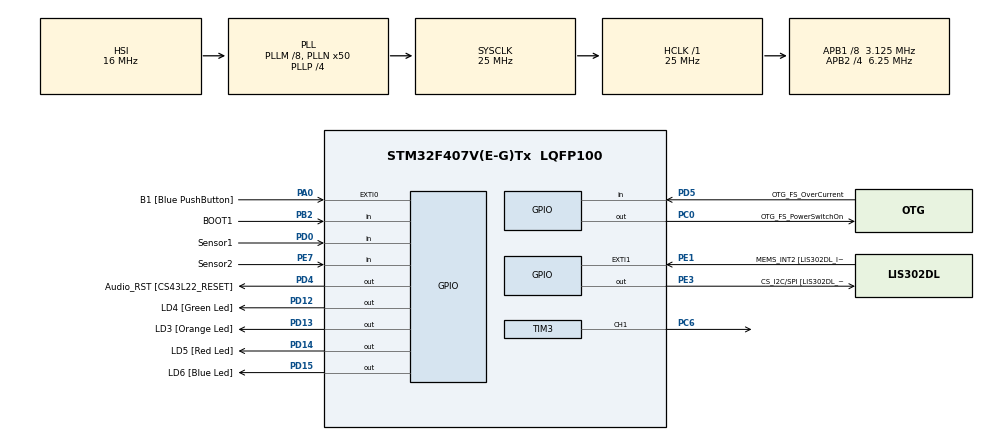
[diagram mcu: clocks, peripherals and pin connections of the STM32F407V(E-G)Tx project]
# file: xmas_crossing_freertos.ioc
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Mcu.Family=STM32F4
Mcu.Name=STM32F407V(E-G)Tx
Mcu.Package=LQFP100
NVIC.PriorityGroup=NVIC_PRIORITYGROUP_4
NVIC.TIM5_IRQn=true\:0\:0\:false\:false\:true\:false\:true
NVIC.TimeBase=TIM5_IRQn
NVIC.TimeBaseIP=TIM5
PA0-WKUP.GPIO_Label=B1 [Blue PushButton]
PA0-WKUP.GPIO_ModeDefaultEXTI=GPIO_MODE_EVT_RISING
PA0-WKUP.GPIO_PuPd=GPIO_NOPULL
PA0-WKUP.Signal=GPXTI0
PA10.GPIO_Label=OTG_FS_ID
PA10.GPIO_Mode=GPIO_MODE_AF_PP
PA10.GPIO_PuPd=GPIO_NOPULL
PA10.GPIO_Speed=GPIO_SPEED_FREQ_LOW
PA10.Signal=USB_OTG_FS_ID
PA11.GPIO_Label=OTG_FS_DM
PA11.GPIO_Mode=GPIO_MODE_AF_PP
PA11.GPIO_PuPd=GPIO_NOPULL
PA11.GPIO_Speed=GPIO_SPEED_FREQ_LOW
PA11.Signal=USB_OTG_FS_DM
PA12.GPIO_Label=OTG_FS_DP
PA12.GPIO_Mode=GPIO_MODE_AF_PP
PA12.GPIO_PuPd=GPIO_NOPULL
PA12.GPIO_Speed=GPIO_SPEED_FREQ_LOW
PA12.Signal=USB_OTG_FS_DP
PA13.GPIO_Label=SWDIO
PA13.Signal=SYS_JTMS-SWDIO
PA14.GPIO_Label=SWCLK
PA14.Signal=SYS_JTCK-SWCLK
PA4.GPIO_Label=I2S3_WS [CS43L22_LRCK]
PA4.GPIO_Mode=GPIO_MODE_AF_PP
PA4.GPIO_PuPd=GPIO_NOPULL
PA4.GPIO_Speed=GPIO_SPEED_FREQ_LOW
PA4.Signal=I2S3_WS
PA5.GPIO_Label=SPI1_SCK [LIS302DL_SCL/SPC]
PA5.GPIO_Mode=GPIO_MODE_AF_PP
PA5.GPIO_PuPd=GPIO_NOPULL
PA5.GPIO_Speed=GPIO_SPEED_FREQ_LOW
PA5.Signal=SPI1_SCK
PA6.GPIO_Label=SPI1_MISO [LIS302DL_SDO]
PA6.GPIO_Mode=GPIO_MODE_AF_PP
PA6.GPIO_PuPd=GPIO_NOPULL
PA6.GPIO_Speed=GPIO_SPEED_FREQ_LOW
PA6.Signal=SPI1_MISO
PA7.GPIO_Label=SPI1_MOSI [LIS302DL_SDA/SDI/SDO]
PA7.GPIO_Mode=GPIO_MODE_AF_PP
PA7.GPIO_PuPd=GPIO_NOPULL
PA7.GPIO_Speed=GPIO_SPEED_FREQ_LOW
PA7.Signal=SPI1_MOSI
PB10.GPIO_Label=CLK_IN [MP45DT02_CLK]
PB10.GPIO_Mode=GPIO_MODE_AF_PP
PB10.GPIO_PuPd=GPIO_NOPULL
PB10.GPIO_Speed=GPIO_SPEED_FREQ_LOW
PB10.Signal=I2S2_CK
PB2.GPIO_Label=BOOT1
PB2.GPIO_Mode=GPIO_MODE_INPUT
PB2.GPIO_PuPd=GPIO_NOPULL
PB2.Signal=GPIO_Input
PB3.GPIO_Label=SWO
PB3.Signal=SYS_JTDO-SWO
PB6.GPIO_Label=Audio_SCL [CS43L22_SCL]
PB6.GPIO_Mode=GPIO_MODE_AF_OD
PB6.GPIO_PuPd=GPIO_NOPULL
PB6.GPIO_Speed=GPIO_SPEED_FREQ_LOW
PB6.Signal=I2C1_SCL
PB9.GPIO_Label=Audio_SDA [CS43L22_SDA]
PB9.GPIO_Mode=GPIO_MODE_AF_OD
PB9.GPIO_PuPd=GPIO_NOPULL
PB9.GPIO_Speed=GPIO_SPEED_FREQ_LOW
PB9.Signal=I2C1_SDA
PC0.GPIO_Label=OTG_FS_PowerSwitchOn
PC0.GPIO_PuPd=GPIO_NOPULL
PC0.GPIO_Speed=GPIO_SPEED_FREQ_LOW
PC0.PinState=GPIO_PIN_SET
PC0.Signal=GPIO_Output
PC10.GPIO_Label=I2S3_SCK [CS43L22_SCLK]
PC10.GPIO_Mode=GPIO_MODE_AF_PP
PC10.GPIO_PuPd=GPIO_NOPULL
PC10.GPIO_Speed=GPIO_SPEED_FREQ_LOW
PC10.Signal=I2S3_CK
PC12.GPIO_Label=I2S3_SD [CS43L22_SDIN]
PC12.GPIO_Mode=GPIO_MODE_AF_PP
PC12.GPIO_PuPd=GPIO_NOPULL
PC12.GPIO_Speed=GPIO_SPEED_FREQ_LOW
PC12.Signal=I2S3_SD
PC14-OSC32_IN.GPIO_Label=PC14-OSC32_IN
PC14-OSC32_IN.Signal=RCC_OSC32_IN
PC15-OSC32_OUT.GPIO_Label=PC15-OSC32_OUT
PC15-OSC32_OUT.Signal=RCC_OSC32_OUT
PC3.GPIO_Label=PDM_OUT [MP45DT02_DOUT]
PC3.GPIO_Mode=GPIO_MODE_AF_PP
PC3.GPIO_PuPd=GPIO_NOPULL
PC3.GPIO_Speed=GPIO_SPEED_FREQ_LOW
PC3.Signal=I2S2_SD
PC6.Signal=S_TIM3_CH1
PC7.GPIO_Label=I2S3_MCK [CS43L22_MCLK]
PC7.GPIO_Mode=GPIO_MODE_AF_PP
PC7.GPIO_PuPd=GPIO_NOPULL
PC7.GPIO_Speed=GPIO_SPEED_FREQ_LOW
PC7.Signal=I2S3_MCK
PD0.GPIO_Label=Sensor1
PD0.GPIO_PuPd=GPIO_PULLUP
PD0.Signal=GPIO_Input
PD12.GPIO_Label=LD4 [Green Led]
PD12.GPIO_PuPd=GPIO_NOPULL
PD12.GPIO_Speed=GPIO_SPEED_FREQ_LOW
PD12.Signal=GPIO_Output
PD13.GPIO_Label=LD3 [Orange Led]
PD13.GPIO_PuPd=GPIO_NOPULL
PD13.GPIO_Speed=GPIO_SPEED_FREQ_LOW
PD13.Signal=GPIO_Output
PD14.GPIO_Label=LD5 [Red Led]
PD14.GPIO_PuPd=GPIO_NOPULL
PD14.GPIO_Speed=GPIO_SPEED_FREQ_LOW
PD14.Signal=GPIO_Output
PD15.GPIO_Label=LD6 [Blue Led]
PD15.GPIO_PuPd=GPIO_NOPULL
PD15.GPIO_Speed=GPIO_SPEED_FREQ_LOW
PD15.Signal=GPIO_Output
PD4.GPIO_Label=Audio_RST [CS43L22_RESET]
PD4.GPIO_PuPd=GPIO_NOPULL
PD4.GPIO_Speed=GPIO_SPEED_FREQ_LOW
PD4.Signal=GPIO_Output
PD5.GPIO_Label=OTG_FS_OverCurrent
PD5.GPIO_Mode=GPIO_MODE_INPUT
PD5.GPIO_PuPd=GPIO_NOPULL
PD5.Signal=GPIO_Input
PE1.GPIO_Label=MEMS_INT2 [LIS302DL_INT2]
PE1.GPIO_ModeDefaultEXTI=GPIO_MODE_EVT_RISING
PE1.GPIO_PuPd=GPIO_NOPULL
PE1.Signal=GPXTI1
PE3.GPIO_Label=CS_I2C/SPI [LIS302DL_CS_I2C/SPI]
PE3.GPIO_PuPd=GPIO_NOPULL
PE3.GPIO_Speed=GPIO_SPEED_FREQ_LOW
PE3.Signal=GPIO_Output
PE7.GPIO_Label=Sensor2
PE7.GPIO_PuPd=GPIO_PULLUP
PE7.Signal=GPIO_Input
PH0-OSC_IN.GPIO_Label=PH0-OSC_IN
PH0-OSC_IN.Signal=RCC_OSC_IN
PH1-OSC_OUT.GPIO_Label=PH1-OSC_OUT
PH1-OSC_OUT.Signal=RCC_OSC_OUT
ProjectManager.HeapSize=0x200
ProjectManager.StackSize=0x400
ProjectManager.TargetToolchain=STM32CubeIDE
RCC.48MHZClocksFreq_Value=14285714.285714285
RCC.AHBFreq_Value=25000000
RCC.APB1CLKDivider=RCC_HCLK_DIV8
RCC.APB1Freq_Value=3125000
RCC.APB1TimFreq_Value=6250000
RCC.APB2CLKDivider=RCC_HCLK_DIV4
RCC.APB2Freq_Value=6250000
RCC.APB2TimFreq_Value=12500000
RCC.CortexFreq_Value=25000000
RCC.HCLKFreq_Value=25000000
RCC.HSE_VALUE=8000000
RCC.HSI_VALUE=16000000
RCC.LSE_VALUE=32768
RCC.PLLM=8
RCC.PLLN=50
RCC.PLLP=RCC_PLLP_DIV4
RCC.PLLQ=7
RCC.SYSCLKFreq_VALUE=25000000
RCC.SYSCLKSource=RCC_SYSCLKSOURCE_PLLCLK
RCC.VCOOutputFreq_Value=100000000
SH.S_TIM3_CH1.0=TIM3_CH1,PWM Generation1 CH1
TIM1.Period=50-1
TIM1.Prescaler=62500-1
TIM3.AutoReloadPreload=TIM_AUTORELOAD_PRELOAD_ENABLE
TIM3.Channel-PWM\ Generation1\ CH1=TIM_CHANNEL_1
TIM3.Period=20000-1
TIM3.Prescaler=6.250-1
TIM3.Pulse-PWM\ Generation1\ CH1=1300
VP_SYS_VS_tim5.Mode=TIM5
VP_TIM1_VS_ClockSourceINT.Mode=Internal
VP_TIM3_VS_ClockSourceINT.Mode=Internal
board=STM32F4DISCOVERY

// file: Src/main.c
/* USER CODE BEGIN Header */
/**
  ******************************************************************************
  * @file           : main.c
  * @brief          : Main program body
  ******************************************************************************
  * @attention
  *
  * <h2><center>&copy; Copyright (c) 2021 STMicroelectronics.
  * All rights reserved.</center></h2>
  *
  * This software component is licensed by ST under BSD 3-Clause license,
  * the "License"; You may not use this file except in compliance with the
  * License. You may obtain a copy of the License at:
  *                        opensource.org/licenses/BSD-3-Clause
  *
  ******************************************************************************
  */
/* USER CODE END Header */

#include "main.h"

/* USER CODE BEGIN Includes */
#include "FreeRTOS.h"
#include "task.h"
#include <stdio.h>
#include "intersection_ctrl.h"
#include "sensor_read.h"
#include "state_machine.h"
#include "gate_ctrl.h"
/* USER CODE END Includes */

TIM_HandleTypeDef htim1;
TIM_HandleTypeDef htim3;

/* USER CODE BEGIN PV */
#define DWT_CTRL	(*(volatile uint32_t*)0xE0001000)
/* USER CODE END PV */

void SystemClock_Config(void);
static void MX_GPIO_Init(void);
static void MX_TIM1_Init(void);
static void MX_TIM3_Init(void);

int main(void)
{
  /* USER CODE BEGIN 1 */
	BaseType_t status;
  /* USER CODE END 1 */

  /* MCU Configuration--------------------------------------------------------*/

  /* Reset of all peripherals, Initializes the Flash interface and the Systick. */
  HAL_Init();

  /* USER CODE BEGIN Init */

  // Enable the cycle counter
  DWT_CTRL |= (1<<0);
  // start segger sys view
  SEGGER_SYSVIEW_Conf();
  SEGGER_SYSVIEW_Start();

  /* USER CODE END Init */

  /* Configure the system clock */
  SystemClock_Config();

  /* Initialize all configured peripherals */
  MX_GPIO_Init();
  MX_TIM1_Init();
  MX_TIM3_Init();
  /* USER CODE BEGIN 2 */

  // start servo - default gate is fully raised
  htim3.Instance->CCR1 = GATE_CTRL_GATE_FULLY_RAISED_SERVO_VAL;
  HAL_TIM_PWM_Start(&htim3, TIM_CHANNEL_1);

  /* Create tasks - dynamically allocate memory to heap */
  status = xTaskCreate(vTask_IntersectionCtrl,"Task_IntersectionCtrl",200,NULL,2,NULL);
  configASSERT(status == pdPASS);
  status = xTaskCreate(vTask_GateCtrl,"Task_GateCtrl",200,NULL,2,NULL);
  configASSERT(status == pdPASS);
  status = xTaskCreate(vTask_SensorRead,"Task_SensorRead",200,NULL,2,NULL);
  configASSERT(status == pdPASS);
  status = xTaskCreate(vTask_StateMachine,"Task_StateMachine",200,NULL,2,NULL);
  configASSERT(status == pdPASS);

  vTaskStartScheduler();
  /* USER CODE END 2 */

  /* Infinite loop */
  while (1)
  {

  }
}

void SystemClock_Config(void)
{
  RCC_OscInitTypeDef RCC_OscInitStruct = {0};
  RCC_ClkInitTypeDef RCC_ClkInitStruct = {0};

  /** Configure the main internal regulator output voltage
  */
  __HAL_RCC_PWR_CLK_ENABLE();
  __HAL_PWR_VOLTAGESCALING_CONFIG(PWR_REGULATOR_VOLTAGE_SCALE1);
  /** Initializes the CPU, AHB and APB busses clocks
  */
  RCC_OscInitStruct.OscillatorType = RCC_OSCILLATORTYPE_HSI;
  RCC_OscInitStruct.HSIState = RCC_HSI_ON;
  RCC_OscInitStruct.HSICalibrationValue = RCC_HSICALIBRATION_DEFAULT;
  RCC_OscInitStruct.PLL.PLLState = RCC_PLL_ON;
  RCC_OscInitStruct.PLL.PLLSource = RCC_PLLSOURCE_HSI;
  RCC_OscInitStruct.PLL.PLLM = 8;
  RCC_OscInitStruct.PLL.PLLN = 50;
  RCC_OscInitStruct.PLL.PLLP = RCC_PLLP_DIV4;
  RCC_OscInitStruct.PLL.PLLQ = 7;
  if (HAL_RCC_OscConfig(&RCC_OscInitStruct) != HAL_OK)
  {
    Error_Handler();
  }
  /** Initializes the CPU, AHB and APB busses clocks
  */
  RCC_ClkInitStruct.ClockType = RCC_CLOCKTYPE_HCLK|RCC_CLOCKTYPE_SYSCLK
                              |RCC_CLOCKTYPE_PCLK1|RCC_CLOCKTYPE_PCLK2;
  RCC_ClkInitStruct.SYSCLKSource = RCC_SYSCLKSOURCE_PLLCLK;
  RCC_ClkInitStruct.AHBCLKDivider = RCC_SYSCLK_DIV1;
  RCC_ClkInitStruct.APB1CLKDivider = RCC_HCLK_DIV8;
  RCC_ClkInitStruct.APB2CLKDivider = RCC_HCLK_DIV4;

  if (HAL_RCC_ClockConfig(&RCC_ClkInitStruct, FLASH_LATENCY_0) != HAL_OK)
  {
    Error_Handler();
  }
}

static void MX_TIM1_Init(void)
{

  TIM_ClockConfigTypeDef sClockSourceConfig = {0};
  TIM_MasterConfigTypeDef sMasterConfig = {0};

  htim1.Instance = TIM1;
  htim1.Init.Prescaler = 62500-1;
  htim1.Init.CounterMode = TIM_COUNTERMODE_UP;
  htim1.Init.Period = 50-1;
  htim1.Init.ClockDivision = TIM_CLOCKDIVISION_DIV1;
  htim1.Init.RepetitionCounter = 0;
  htim1.Init.AutoReloadPreload = TIM_AUTORELOAD_PRELOAD_DISABLE;
  if (HAL_TIM_Base_Init(&htim1) != HAL_OK)
  {
    Error_Handler();
  }
  sClockSourceConfig.ClockSource = TIM_CLOCKSOURCE_INTERNAL;
  if (HAL_TIM_ConfigClockSource(&htim1, &sClockSourceConfig) != HAL_OK)
  {
    Error_Handler();
  }
  sMasterConfig.MasterOutputTrigger = TIM_TRGO_RESET;
  sMasterConfig.MasterSlaveMode = TIM_MASTERSLAVEMODE_DISABLE;
  if (HAL_TIMEx_MasterConfigSynchronization(&htim1, &sMasterConfig) != HAL_OK)
  {
    Error_Handler();
  }

}

static void MX_TIM3_Init(void)
{

  TIM_ClockConfigTypeDef sClockSourceConfig = {0};
  TIM_MasterConfigTypeDef sMasterConfig = {0};
  TIM_OC_InitTypeDef sConfigOC = {0};

  htim3.Instance = TIM3;
  htim3.Init.Prescaler = 6.250-1;
  htim3.Init.CounterMode = TIM_COUNTERMODE_UP;
  htim3.Init.Period = 20000-1;
  htim3.Init.ClockDivision = TIM_CLOCKDIVISION_DIV1;
  htim3.Init.AutoReloadPreload = TIM_AUTORELOAD_PRELOAD_ENABLE;
  if (HAL_TIM_Base_Init(&htim3) != HAL_OK)
  {
    Error_Handler();
  }
  sClockSourceConfig.ClockSource = TIM_CLOCKSOURCE_INTERNAL;
  if (HAL_TIM_ConfigClockSource(&htim3, &sClockSourceConfig) != HAL_OK)
  {
    Error_Handler();
  }
  if (HAL_TIM_PWM_Init(&htim3) != HAL_OK)
  {
    Error_Handler();
  }
  sMasterConfig.MasterOutputTrigger = TIM_TRGO_RESET;
  sMasterConfig.MasterSlaveMode = TIM_MASTERSLAVEMODE_DISABLE;
  if (HAL_TIMEx_MasterConfigSynchronization(&htim3, &sMasterConfig) != HAL_OK)
  {
    Error_Handler();
  }
  sConfigOC.OCMode = TIM_OCMODE_PWM1;
  sConfigOC.Pulse = 1300;
  sConfigOC.OCPolarity = TIM_OCPOLARITY_HIGH;
  sConfigOC.OCFastMode = TIM_OCFAST_DISABLE;
  if (HAL_TIM_PWM_ConfigChannel(&htim3, &sConfigOC, TIM_CHANNEL_1) != HAL_OK)
  {
    Error_Handler();
  }
  HAL_TIM_MspPostInit(&htim3);

}

static void MX_GPIO_Init(void)
{
  GPIO_InitTypeDef GPIO_InitStruct = {0};

  /* GPIO Ports Clock Enable */
  __HAL_RCC_GPIOE_CLK_ENABLE();
  __HAL_RCC_GPIOC_CLK_ENABLE();
  __HAL_RCC_GPIOH_CLK_ENABLE();
  __HAL_RCC_GPIOA_CLK_ENABLE();
  __HAL_RCC_GPIOB_CLK_ENABLE();
  __HAL_RCC_GPIOD_CLK_ENABLE();

  /*Configure GPIO pin Output Level */
  HAL_GPIO_WritePin(CS_I2C_SPI_GPIO_Port, CS_I2C_SPI_Pin, GPIO_PIN_RESET);

  /*Configure GPIO pin Output Level */
  HAL_GPIO_WritePin(OTG_FS_PowerSwitchOn_GPIO_Port, OTG_FS_PowerSwitchOn_Pin, GPIO_PIN_SET);

  /*Configure GPIO pin Output Level */
  HAL_GPIO_WritePin(GPIOD, LD4_Pin|LD3_Pin|LD5_Pin|LD6_Pin
                          |Audio_RST_Pin, GPIO_PIN_RESET);

  /*Configure GPIO pin : CS_I2C_SPI_Pin */
  GPIO_InitStruct.Pin = CS_I2C_SPI_Pin;
  GPIO_InitStruct.Mode = GPIO_MODE_OUTPUT_PP;
  GPIO_InitStruct.Pull = GPIO_NOPULL;
  GPIO_InitStruct.Speed = GPIO_SPEED_FREQ_LOW;
  HAL_GPIO_Init(CS_I2C_SPI_GPIO_Port, &GPIO_InitStruct);

  /*Configure GPIO pin : OTG_FS_PowerSwitchOn_Pin */
  GPIO_InitStruct.Pin = OTG_FS_PowerSwitchOn_Pin;
  GPIO_InitStruct.Mode = GPIO_MODE_OUTPUT_PP;
  GPIO_InitStruct.Pull = GPIO_NOPULL;
  GPIO_InitStruct.Speed = GPIO_SPEED_FREQ_LOW;
  HAL_GPIO_Init(OTG_FS_PowerSwitchOn_GPIO_Port, &GPIO_InitStruct);

  /*Configure GPIO pin : PDM_OUT_Pin */
  GPIO_InitStruct.Pin = PDM_OUT_Pin;
  GPIO_InitStruct.Mode = GPIO_MODE_AF_PP;
  GPIO_InitStruct.Pull = GPIO_NOPULL;
  GPIO_InitStruct.Speed = GPIO_SPEED_FREQ_LOW;
  GPIO_InitStruct.Alternate = GPIO_AF5_SPI2;
  HAL_GPIO_Init(PDM_OUT_GPIO_Port, &GPIO_InitStruct);

  /*Configure GPIO pin : B1_Pin */
  GPIO_InitStruct.Pin = B1_Pin;
  GPIO_InitStruct.Mode = GPIO_MODE_EVT_RISING;
  GPIO_InitStruct.Pull = GPIO_NOPULL;
  HAL_GPIO_Init(B1_GPIO_Port, &GPIO_InitStruct);

  /*Configure GPIO pin : I2S3_WS_Pin */
  GPIO_InitStruct.Pin = I2S3_WS_Pin;
  GPIO_InitStruct.Mode = GPIO_MODE_AF_PP;
  GPIO_InitStruct.Pull = GPIO_NOPULL;
  GPIO_InitStruct.Speed = GPIO_SPEED_FREQ_LOW;
  GPIO_InitStruct.Alternate = GPIO_AF6_SPI3;
  HAL_GPIO_Init(I2S3_WS_GPIO_Port, &GPIO_InitStruct);

  /*Configure GPIO pins : SPI1_SCK_Pin SPI1_MISO_Pin SPI1_MOSI_Pin */
  GPIO_InitStruct.Pin = SPI1_SCK_Pin|SPI1_MISO_Pin|SPI1_MOSI_Pin;
  GPIO_InitStruct.Mode = GPIO_MODE_AF_PP;
  GPIO_InitStruct.Pull = GPIO_NOPULL;
  GPIO_InitStruct.Speed = GPIO_SPEED_FREQ_LOW;
  GPIO_InitStruct.Alternate = GPIO_AF5_SPI1;
  HAL_GPIO_Init(GPIOA, &GPIO_InitStruct);

  /*Configure GPIO pin : BOOT1_Pin */
  GPIO_InitStruct.Pin = BOOT1_Pin;
  GPIO_InitStruct.Mode = GPIO_MODE_INPUT;
  GPIO_InitStruct.Pull = GPIO_NOPULL;
  HAL_GPIO_Init(BOOT1_GPIO_Port, &GPIO_InitStruct);

  /*Configure GPIO pin : Sensor2_Pin */
  GPIO_InitStruct.Pin = Sensor2_Pin;
  GPIO_InitStruct.Mode = GPIO_MODE_INPUT;
  GPIO_InitStruct.Pull = GPIO_PULLUP;
  HAL_GPIO_Init(Sensor2_GPIO_Port, &GPIO_InitStruct);

  /*Configure GPIO pin : CLK_IN_Pin */
  GPIO_InitStruct.Pin = CLK_IN_Pin;
  GPIO_InitStruct.Mode = GPIO_MODE_AF_PP;
  GPIO_InitStruct.Pull = GPIO_NOPULL;
  GPIO_InitStruct.Speed = GPIO_SPEED_FREQ_LOW;
  GPIO_InitStruct.Alternate = GPIO_AF5_SPI2;
  HAL_GPIO_Init(CLK_IN_GPIO_Port, &GPIO_InitStruct);

  /*Configure GPIO pins : LD4_Pin LD3_Pin LD5_Pin LD6_Pin
                           Audio_RST_Pin */
  GPIO_InitStruct.Pin = LD4_Pin|LD3_Pin|LD5_Pin|LD6_Pin
                          |Audio_RST_Pin;
  GPIO_InitStruct.Mode = GPIO_MODE_OUTPUT_PP;
  GPIO_InitStruct.Pull = GPIO_NOPULL;
  GPIO_InitStruct.Speed = GPIO_SPEED_FREQ_LOW;
  HAL_GPIO_Init(GPIOD, &GPIO_InitStruct);

  /*Configure GPIO pins : I2S3_MCK_Pin I2S3_SCK_Pin I2S3_SD_Pin */
  GPIO_InitStruct.Pin = I2S3_MCK_Pin|I2S3_SCK_Pin|I2S3_SD_Pin;
  GPIO_InitStruct.Mode = GPIO_MODE_AF_PP;
  GPIO_InitStruct.Pull = GPIO_NOPULL;
  GPIO_InitStruct.Speed = GPIO_SPEED_FREQ_LOW;
  GPIO_InitStruct.Alternate = GPIO_AF6_SPI3;
  HAL_GPIO_Init(GPIOC, &GPIO_InitStruct);

  /*Configure GPIO pins : OTG_FS_ID_Pin OTG_FS_DM_Pin OTG_FS_DP_Pin */
  GPIO_InitStruct.Pin = OTG_FS_ID_Pin|OTG_FS_DM_Pin|OTG_FS_DP_Pin;
  GPIO_InitStruct.Mode = GPIO_MODE_AF_PP;
  GPIO_InitStruct.Pull = GPIO_NOPULL;
  GPIO_InitStruct.Speed = GPIO_SPEED_FREQ_LOW;
  GPIO_InitStruct.Alternate = GPIO_AF10_OTG_FS;
  HAL_GPIO_Init(GPIOA, &GPIO_InitStruct);

  /*Configure GPIO pin : Sensor1_Pin */
  GPIO_InitStruct.Pin = Sensor1_Pin;
  GPIO_InitStruct.Mode = GPIO_MODE_INPUT;
  GPIO_InitStruct.Pull = GPIO_PULLUP;
  HAL_GPIO_Init(Sensor1_GPIO_Port, &GPIO_InitStruct);

  /*Configure GPIO pin : OTG_FS_OverCurrent_Pin */
  GPIO_InitStruct.Pin = OTG_FS_OverCurrent_Pin;
  GPIO_InitStruct.Mode = GPIO_MODE_INPUT;
  GPIO_InitStruct.Pull = GPIO_NOPULL;
  HAL_GPIO_Init(OTG_FS_OverCurrent_GPIO_Port, &GPIO_InitStruct);

  /*Configure GPIO pins : Audio_SCL_Pin Audio_SDA_Pin */
  GPIO_InitStruct.Pin = Audio_SCL_Pin|Audio_SDA_Pin;
  GPIO_InitStruct.Mode = GPIO_MODE_AF_OD;
  GPIO_InitStruct.Pull = GPIO_PULLUP;
  GPIO_InitStruct.Speed = GPIO_SPEED_FREQ_LOW;
  GPIO_InitStruct.Alternate = GPIO_AF4_I2C1;
  HAL_GPIO_Init(GPIOB, &GPIO_InitStruct);

  /*Configure GPIO pin : MEMS_INT2_Pin */
  GPIO_InitStruct.Pin = MEMS_INT2_Pin;
  GPIO_InitStruct.Mode = GPIO_MODE_EVT_RISING;
  GPIO_InitStruct.Pull = GPIO_NOPULL;
  HAL_GPIO_Init(MEMS_INT2_GPIO_Port, &GPIO_InitStruct);

}

void HAL_TIM_PeriodElapsedCallback(TIM_HandleTypeDef *htim)
{
  if (htim->Instance == TIM5) {
    HAL_IncTick();
  }
}

void Error_Handler(void)
{
}

/************************ (C) COPYRIGHT STMicroelectronics *****END OF FILE****/
